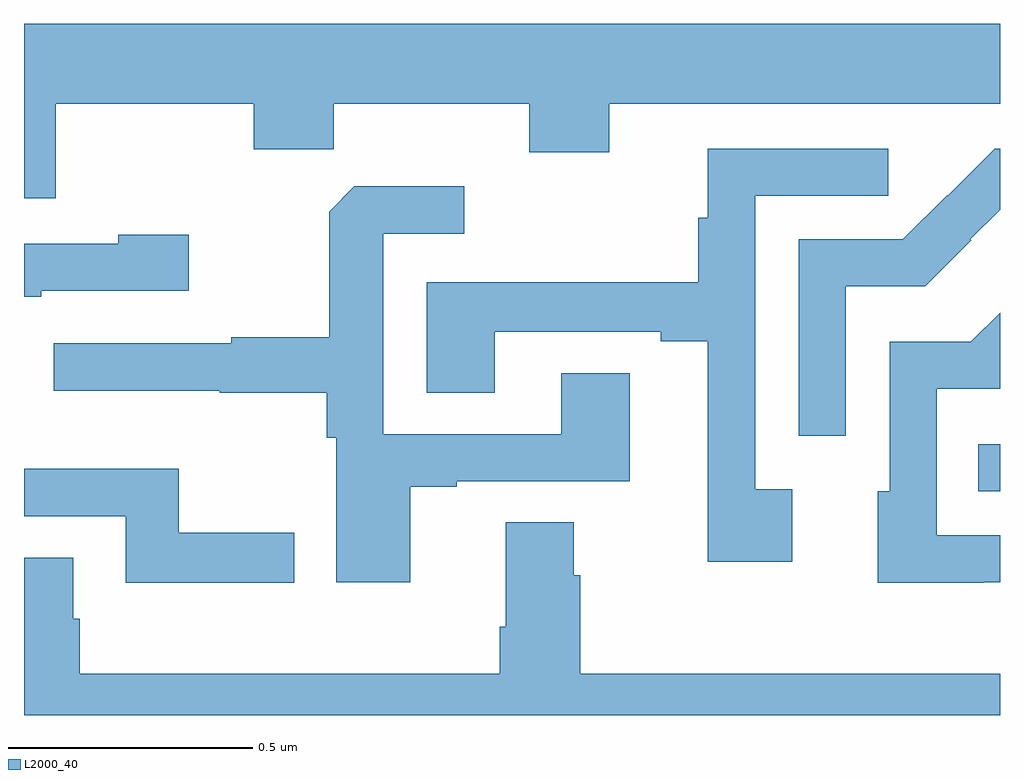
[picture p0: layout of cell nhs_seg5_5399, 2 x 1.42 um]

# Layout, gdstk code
import gdstk
lib = gdstk.Library(unit=1e-6, precision=1e-09)
def R(c, l, rs):  # rectangles x0, y0, x1, y1
    for r in rs: c.add(gdstk.rectangle(r[:2], r[2:], *l))
def P(c, l, *ps):  # polygons
    for p in ps: c.add(gdstk.Polygon(p, *l))
L2000_40 = (2000, 40)

nhs_seg5_5399 = lib.new_cell('nhs_seg5_5399')
R(nhs_seg5_5399, L2000_40, [(183.955,897.258,184,897.354)])
P(nhs_seg5_5399, L2000_40, [(182.065,898.052),(182.471,898.052),(182.471,897.959),(182.635,897.959),(182.635,898.052),(183.035,898.052),(183.035,897.953),(183.199,897.953),(183.199,898.052),(184,898.052),(184,898.216),(182,898.216),(182,897.858),(182.065,897.858)],
  [(183.684,897.678),(183.847,897.678),(183.941,897.772),(183.939,897.774),(184,897.835),(184,897.96),(183.989,897.96),(183.893,897.864),(183.892,897.865),(183.801,897.774),(183.588,897.774),(183.588,897.372),(183.684,897.372)],
  [(183.574,897.262),(183.498,897.262),(183.498,897.864),(183.771,897.864),(183.771,897.96),(183.401,897.96),(183.401,897.818),(183.382,897.818),(183.382,897.686),(182.825,897.686),(182.825,897.46),(182.965,897.46),(182.965,897.585),(183.305,897.585),(183.305,897.565),(183.401,897.565),(183.401,897.114),(183.574,897.114)],
  [(182.791,897.267),(182.887,897.267),(182.887,897.279),(183.241,897.279),(183.241,897.5),(183.101,897.5),(183.101,897.375),(182.736,897.375),(182.736,897.786),(182.902,897.786),(182.902,897.883),(182.677,897.883),(182.625,897.831),(182.625,897.574),(182.425,897.574),(182.425,897.561),(182.061,897.561),(182.061,897.464),(182.401,897.464),(182.401,897.46),(182.62,897.46),(182.62,897.368),(182.64,897.368),(182.64,897.072),(182.791,897.072)],
  [(182.035,897.669),(182.338,897.669),(182.338,897.784),(182.193,897.784),(182.193,897.765),(182,897.765),(182,897.657),(182.035,897.657)],
  [(183.967,897.072),(184,897.072),(184,897.168),(183.87,897.168),(183.87,897.468),(184,897.468),(184,897.624),(183.94,897.564),(183.774,897.564),(183.774,897.258),(183.749,897.258),(183.749,897.071),(183.967,897.071)],
  [(182.554,897.173),(182.317,897.173),(182.317,897.304),(182,897.304),(182,897.207),(182.208,897.207),(182.208,897.071),(182.554,897.071)],
  [(184,896.884),(183.14,896.884),(183.14,897.086),(183.127,897.086),(183.127,897.194),(182.987,897.194),(182.987,896.98),(182.975,896.98),(182.975,896.884),(182.114,896.884),(182.114,896.997),(182.101,896.997),(182.101,897.122),(182,897.122),(182,896.799),(184,896.799)])

lib.write_gds('nhs_seg5_5399.gds')
